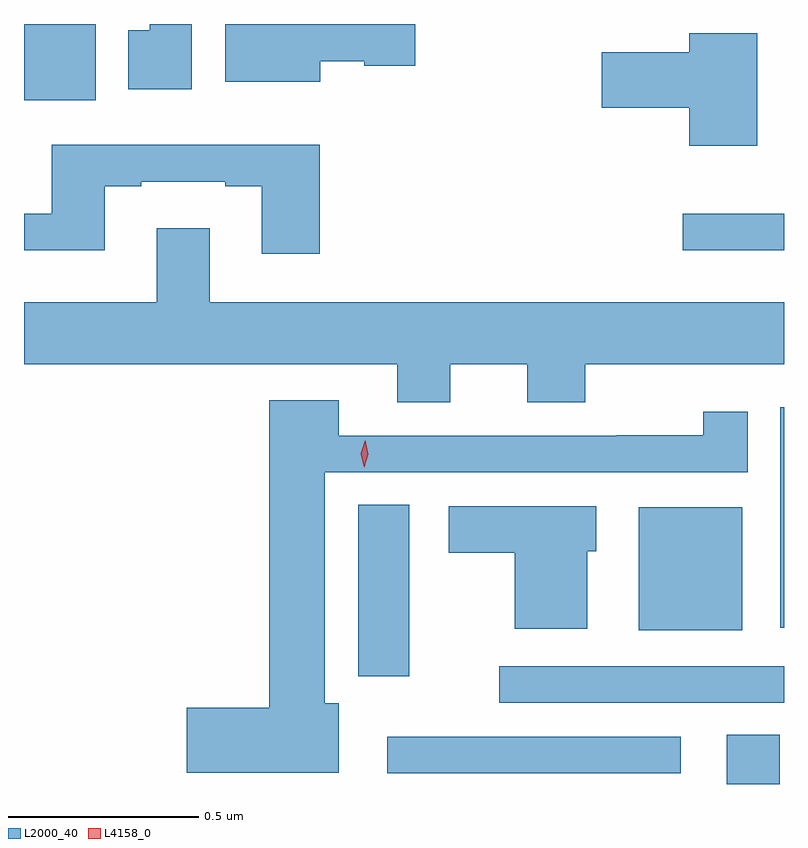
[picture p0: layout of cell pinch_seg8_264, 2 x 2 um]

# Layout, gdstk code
import gdstk
lib = gdstk.Library(unit=1e-6, precision=1e-09)
def R(c, l, rs):  # rectangles x0, y0, x1, y1
    for r in rs: c.add(gdstk.rectangle(r[:2], r[2:], *l))
def P(c, l, *ps):  # polygons
    for p in ps: c.add(gdstk.Polygon(p, *l))
L2000_40 = (2000, 40)
L4158_0 = (4158, 0)

pinch_seg8_264 = lib.new_cell('pinch_seg8_264')
R(pinch_seg8_264, L2000_40, [(497.111,1155.356,497.251,1155.485), (496.218,1155.384,496.99,1155.48), (496.512,1155.57,497.262,1155.666), (496.142,1155.639,496.276,1156.091), (496.88,1155.761,497.152,1156.084), (497.252,1155.767,497.262,1156.348), (496.995,1156.76,497.262,1156.857), (495.262,1157.156,495.451,1157.356)])
P(pinch_seg8_264, L2000_40, [(496.042,1157.258),(496.158,1157.258),(496.158,1157.246),(496.291,1157.246),(496.291,1157.356),(495.791,1157.356),(495.791,1157.204),(496.042,1157.204)],
  [(495.703,1157.356),(495.593,1157.356),(495.593,1157.34),(495.536,1157.34),(495.536,1157.184),(495.703,1157.184)],
  [(497.191,1157.332),(497.012,1157.332),(497.012,1157.282),(496.782,1157.282),(496.782,1157.135),(497.012,1157.135),(497.012,1157.036),(497.191,1157.036)],
  [(496.04,1157.038),(495.335,1157.038),(495.335,1156.857),(495.262,1156.857),(495.262,1156.76),(495.475,1156.76),(495.475,1156.929),(495.571,1156.929),(495.571,1156.941),(495.791,1156.941),(495.791,1156.929),(495.887,1156.929),(495.887,1156.752),(496.04,1156.752)],
  [(496.384,1156.46),(496.586,1156.46),(496.586,1156.361),(496.739,1156.361),(496.739,1156.46),(497.262,1156.46),(497.262,1156.624),(495.751,1156.624),(495.751,1156.819),(495.611,1156.819),(495.611,1156.624),(495.262,1156.624),(495.262,1156.46),(496.244,1156.46),(496.244,1156.361),(496.384,1156.361)],
  [(496.09,1155.568),(496.054,1155.568),(496.054,1156.176),(497.167,1156.176),(497.167,1156.336),(497.05,1156.336),(497.05,1156.274),(496.822,1156.274),(496.822,1156.272),(496.09,1156.272),(496.09,1156.366),(495.908,1156.366),(495.908,1155.557),(495.69,1155.557),(495.69,1155.386),(496.09,1155.386)],
  [(496.744,1155.969),(496.768,1155.969),(496.768,1156.087),(496.38,1156.087),(496.38,1155.965),(496.553,1155.965),(496.553,1155.764),(496.744,1155.764)])
P(pinch_seg8_264, L4158_0, [(496.157,1156.189),(496.157,1156.189),(496.148,1156.225),(496.16,1156.261),(496.16,1156.261),(496.16,1156.261),(496.168,1156.224),(496.157,1156.189)])

lib.write_gds('pinch_seg8_264.gds')
